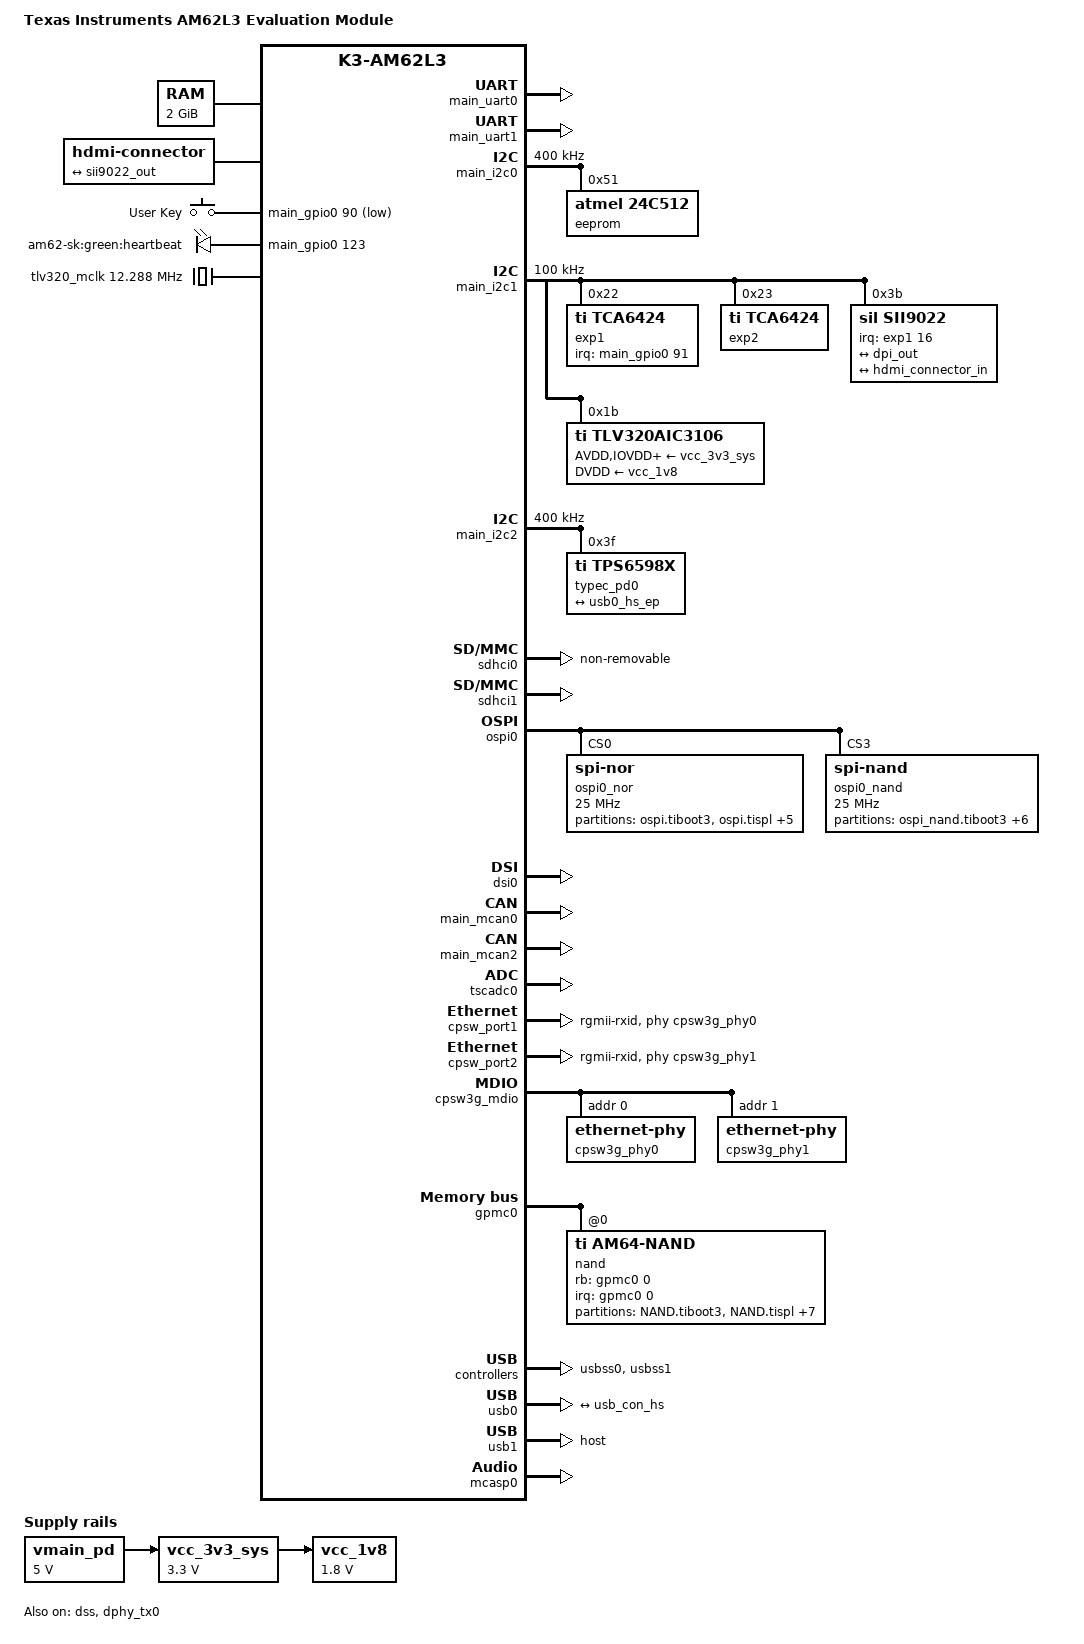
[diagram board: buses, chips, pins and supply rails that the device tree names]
// SPDX-License-Identifier: GPL-2.0-only or MIT
/*
 * Device Tree file for the AM62L3 Evaluation Module
 * Copyright (C) 2024 Texas Instruments Incorporated - https://www.ti.com/
 *
 * Technical Reference Manual: https://www.ti.com/lit/pdf/sprujb4
 */

/dts-v1/;

#include <dt-bindings/gpio/gpio.h>
#include <dt-bindings/input/input.h>
#include <dt-bindings/leds/common.h>
#include <dt-bindings/net/ti-dp83867.h>
#include "k3-am62l3.dtsi"
#include "k3-pinctrl.h"

/ {
	compatible = "ti,am62l3-evm", "ti,am62l3";
	model = "Texas Instruments AM62L3 Evaluation Module";

	aliases {
		mmc0 = &sdhci0;
		mmc1 = &sdhci1;
	};

	chosen {
		stdout-path = &main_uart0;
	};

	memory@80000000 {
		reg = <0x00000000 0x80000000 0x00000000 0x80000000>;
		device_type = "memory";
		bootph-all;
	};

	hdmi0: connector-hdmi {
		compatible = "hdmi-connector";
		label = "hdmi";
		type = "a";

		port {
			hdmi_connector_in: endpoint {
				remote-endpoint = <&sii9022_out>;
			};
		};
	};

	gpio_keys: gpio-keys {
		compatible = "gpio-keys";
		autorepeat;
		pinctrl-names = "default";
		pinctrl-0 = <&usr_button_pins_default>;

		usr: button-usr {
			label = "User Key";
			linux,code = <BTN_0>;
			gpios = <&main_gpio0 90 GPIO_ACTIVE_LOW>;
		};
	};

	leds {
		compatible = "gpio-leds";
		pinctrl-names = "default";
		pinctrl-0 = <&usr_led_pins_default>;

		led-0 {
			label = "am62-sk:green:heartbeat";
			gpios = <&main_gpio0 123 GPIO_ACTIVE_HIGH>;
			linux,default-trigger = "heartbeat";
			function = LED_FUNCTION_HEARTBEAT;
			default-state = "on";
		};
	};

	vmain_pd: regulator-0 {
		/* TPS65988 PD CONTROLLER OUTPUT */
		bootph-all;
		compatible = "regulator-fixed";
		regulator-name = "vmain_pd";
		regulator-min-microvolt = <5000000>;
		regulator-max-microvolt = <5000000>;
		regulator-always-on;
		regulator-boot-on;
	};

	vcc_3v3_sys: regulator-1 {
		/* output of LM61460-Q1 */
		compatible = "regulator-fixed";
		regulator-name = "vcc_3v3_sys";
		regulator-min-microvolt = <3300000>;
		regulator-max-microvolt = <3300000>;
		vin-supply = <&vmain_pd>;
		regulator-always-on;
		regulator-boot-on;
	};

	vcc_1v8: regulator-3 {
		/* output of TPS6282518DMQ */
		compatible = "regulator-fixed";
		regulator-name = "vcc_1v8";
		regulator-min-microvolt = <1800000>;
		regulator-max-microvolt = <1800000>;
		vin-supply = <&vcc_3v3_sys>;
		regulator-always-on;
		regulator-boot-on;
	};

	tlv320_mclk: clk-0 {
		#clock-cells = <0>;
		compatible = "fixed-clock";
		clock-frequency = <12288000>;
	};

	codec_audio: sound {
		compatible = "simple-audio-card";
		simple-audio-card,name = "AM62L-SKEVM";
		simple-audio-card,widgets =
			"Headphone",	"Headphone Jack",
			"Line",		"Line In",
			"Microphone",	"Microphone Jack";
		simple-audio-card,routing =
			"Headphone Jack",	"HPLOUT",
			"Headphone Jack",	"HPROUT",
			"LINE1L",		"Line In",
			"LINE1R",		"Line In",
			"MIC3R",		"Microphone Jack",
			"Microphone Jack",	"Mic Bias";
		simple-audio-card,format = "dsp_b";
		simple-audio-card,bitclock-master = <&sound_master>;
		simple-audio-card,frame-master = <&sound_master>;
		simple-audio-card,bitclock-inversion;

		simple-audio-card,cpu {
			sound-dai = <&mcasp0>;
		};

		sound_master: simple-audio-card,codec {
			sound-dai = <&tlv320aic3106>;
			clocks = <&tlv320_mclk>;
		};
	};
};

&pmx0 {
	main_uart0_pins_default: main-uart0-default-pins {
		pinctrl-single,pins = <
			AM62LX_IOPAD(0x01b4, PIN_INPUT, 0)	/* (D13) UART0_RXD */
			AM62LX_IOPAD(0x01b8, PIN_OUTPUT, 0)	/* (C13) UART0_TXD */
		>;
		bootph-all;
	};

	main_uart1_pins_default: main-uart1-default-pins {
		pinctrl-single,pins = <
			AM62LX_IOPAD(0x0180, PIN_INPUT, 2) /* (A8) MCASP0_AXR3.UART1_CTSn */
			AM62LX_IOPAD(0x0184, PIN_OUTPUT, 2) /* (B10) MCASP0_AXR2.UART1_RTSn */
			AM62LX_IOPAD(0x0198, PIN_INPUT, 2) /* (C11) MCASP0_AFSR.UART1_RXD */
			AM62LX_IOPAD(0x019c, PIN_OUTPUT, 2) /* (A12) MCASP0_ACLKR.UART1_TXD */
		>;
		bootph-all;
	};

	main_i2c0_pins_default: main-i2c0-default-pins {
		pinctrl-single,pins = <
			AM62LX_IOPAD(0x01cc, PIN_INPUT_PULLUP, 0) /* (B7) I2C0_SCL */
			AM62LX_IOPAD(0x01d0, PIN_INPUT_PULLUP, 0) /* (A7) I2C0_SDA */
		>;
		bootph-all;
	};

	main_i2c1_pins_default: main-i2c1-default-pins {
		pinctrl-single,pins = <
			AM62LX_IOPAD(0x01d4, PIN_INPUT_PULLUP, 0) /* (D7) I2C1_SCL */
			AM62LX_IOPAD(0x01d8, PIN_INPUT_PULLUP, 0) /* (A6) I2C1_SDA */
		>;
		bootph-all;
	};

	main_i2c2_pins_default: main-i2c2-default-pins {
		pinctrl-single,pins = <
			AM62LX_IOPAD(0x01dc, PIN_INPUT_PULLUP, 0) /* (B8) I2C2_SCL */
			AM62LX_IOPAD(0x01e0, PIN_INPUT_PULLUP, 0) /* (D8) I2C2_SDA */
		>;
	};

	ospi0_pins_default: ospi0-default-pins {
		bootph-all;
		pinctrl-single,pins = <
			AM62LX_IOPAD(0x003c, PIN_OUTPUT, 0) /* (D22) OSPI0_CLK */
			AM62LX_IOPAD(0x0068, PIN_OUTPUT, 0) /* (C20) OSPI0_CSn0 */
			AM62LX_IOPAD(0x0074, PIN_OUTPUT, 0) /* (C23) OSPI0_CSn3 */
			AM62LX_IOPAD(0x0048, PIN_INPUT, 0) /* (C22) OSPI0_D0 */
			AM62LX_IOPAD(0x004c, PIN_INPUT, 0) /* (D21) OSPI0_D1 */
			AM62LX_IOPAD(0x0050, PIN_INPUT, 0) /* (E23) OSPI0_D2 */
			AM62LX_IOPAD(0x0054, PIN_INPUT, 0) /* (D23) OSPI0_D3 */
			AM62LX_IOPAD(0x0058, PIN_INPUT, 0) /* (F21) OSPI0_D4 */
			AM62LX_IOPAD(0x005c, PIN_INPUT, 0) /* (F19) OSPI0_D5 */
			AM62LX_IOPAD(0x0060, PIN_INPUT, 0) /* (G20) OSPI0_D6 */
			AM62LX_IOPAD(0x0064, PIN_INPUT, 0) /* (F20) OSPI0_D7 */
			AM62LX_IOPAD(0x0044, PIN_INPUT, 0) /* (E22) OSPI0_DQS */
			AM62LX_IOPAD(0x0040, PIN_INPUT, 0) /* (E18) OSPI0_LBCLKO */
		>;
	};

	main_gpio0_ioexp_intr_pins_default: main-gpio0-ioexp-intr-default-pins {
		pinctrl-single,pins = <
			AM62LX_IOPAD(0x01b0, PIN_INPUT, 7) /* (B12) SPI0_D1.GPIO0_91 */
		>;
		bootph-all;
	};

	usr_led_pins_default: usr-led-pins-default {
		pinctrl-single,pins = <
			AM62LX_IOPAD(0x0238, PIN_OUTPUT, 7) /* (D24) MMC1_SDWP.GPIO0_123 */
		>;
	};

	usr_button_pins_default: usr-button-pins-default {
		pinctrl-single,pins = <
			AM62LX_IOPAD(0x01ac, PIN_INPUT, 7) /* (E12) SPI0_D0.GPIO0_90 */
		>;
	};

	main_mmc0_pins_default: main-mmc0-default-pins {
		pinctrl-single,pins = <
			AM62LX_IOPAD(0x0214, PIN_INPUT_PULLUP, 0) /* (D2) MMC0_CMD */
			AM62LX_IOPAD(0x020c, PIN_OUTPUT, 0) /* (B2) MMC0_CLK */
			AM62LX_IOPAD(0x0208, PIN_INPUT_PULLUP, 0) /* (D3) MMC0_DAT0 */
			AM62LX_IOPAD(0x0204, PIN_INPUT_PULLUP, 0) /* (D4) MMC0_DAT1 */
			AM62LX_IOPAD(0x0200, PIN_INPUT_PULLUP, 0) /* (C1) MMC0_DAT2 */
			AM62LX_IOPAD(0x01fc, PIN_INPUT_PULLUP, 0) /* (C2) MMC0_DAT3 */
			AM62LX_IOPAD(0x01f8, PIN_INPUT_PULLUP, 0) /* (C4) MMC0_DAT4 */
			AM62LX_IOPAD(0x01f4, PIN_INPUT_PULLUP, 0) /* (B3) MMC0_DAT5 */
			AM62LX_IOPAD(0x01f0, PIN_INPUT_PULLUP, 0) /* (A3) MMC0_DAT6 */
			AM62LX_IOPAD(0x01ec, PIN_INPUT_PULLUP, 0) /* (B4) MMC0_DAT7 */
		>;
		bootph-all;
	};

	main_mmc1_pins_default: main-mmc1-default-pins {
		pinctrl-single,pins = <
			AM62LX_IOPAD(0x0230, PIN_INPUT, 0) /* (Y3) MMC1_CMD */
			AM62LX_IOPAD(0x0228, PIN_OUTPUT, 0) /* (Y2) MMC1_CLK */
			AM62LX_IOPAD(0x0224, PIN_INPUT, 0) /* (AA1) MMC1_DAT0 */
			AM62LX_IOPAD(0x0220, PIN_INPUT_PULLUP, 0) /* (Y4) MMC1_DAT1 */
			AM62LX_IOPAD(0x021c, PIN_INPUT_PULLUP, 0) /* (AA2) MMC1_DAT2 */
			AM62LX_IOPAD(0x0218, PIN_INPUT_PULLUP, 0) /* (AB2) MMC1_DAT3 */
			AM62LX_IOPAD(0x0234, PIN_INPUT, 0) /* (B6) MMC1_SDCD */
		>;
		bootph-all;
	};

	main_dpi_pins_default: main-dpi-default-pins {
		pinctrl-single,pins = <
			AM62LX_IOPAD(0x00e4, PIN_OUTPUT, 1) /* (L20) GPMC0_CSn0.VOUT0_VSYNC */
			AM62LX_IOPAD(0x00dc, PIN_OUTPUT, 1) /* (N21) GPMC0_WPn.VOUT0_HSYNC */
			AM62LX_IOPAD(0x00e8, PIN_OUTPUT, 1) /* (L19) GPMC0_CSn1.VOUT0_PCLK */
			AM62LX_IOPAD(0x00e0, PIN_OUTPUT, 1) /* (M21) GPMC0_DIR.VOUT0_DE */
			AM62LX_IOPAD(0x0078, PIN_OUTPUT, 1) /* (L22) GPMC0_AD0.VOUT0_DATA0 */
			AM62LX_IOPAD(0x007c, PIN_OUTPUT, 1) /* (L23) GPMC0_AD1.VOUT0_DATA1 */
			AM62LX_IOPAD(0x0080, PIN_OUTPUT, 1) /* (K22) GPMC0_AD2.VOUT0_DATA2 */
			AM62LX_IOPAD(0x0084, PIN_OUTPUT, 1) /* (J23) GPMC0_AD3.VOUT0_DATA3 */
			AM62LX_IOPAD(0x0088, PIN_OUTPUT, 1) /* (K23) GPMC0_AD4.VOUT0_DATA4 */
			AM62LX_IOPAD(0x008c, PIN_OUTPUT, 1) /* (H22) GPMC0_AD5.VOUT0_DATA5 */
			AM62LX_IOPAD(0x0090, PIN_OUTPUT, 1) /* (H23) GPMC0_AD6.VOUT0_DATA6 */
			AM62LX_IOPAD(0x0094, PIN_OUTPUT, 1) /* (J22) GPMC0_AD7.VOUT0_DATA7 */
			AM62LX_IOPAD(0x0098, PIN_OUTPUT, 1) /* (H19) GPMC0_AD8.VOUT0_DATA8 */
			AM62LX_IOPAD(0x009c, PIN_OUTPUT, 1) /* (H20) GPMC0_AD9.VOUT0_DATA9 */
			AM62LX_IOPAD(0x00a0, PIN_OUTPUT, 1) /* (H21) GPMC0_AD10.VOUT0_DATA10 */
			AM62LX_IOPAD(0x00a4, PIN_OUTPUT, 1) /* (H18) GPMC0_AD11.VOUT0_DATA11 */
			AM62LX_IOPAD(0x00a8, PIN_OUTPUT, 1) /* (G23) GPMC0_AD12.VOUT0_DATA12 */
			AM62LX_IOPAD(0x00ac, PIN_OUTPUT, 1) /* (G22) GPMC0_AD13.VOUT0_DATA13 */
			AM62LX_IOPAD(0x00b0, PIN_OUTPUT, 1) /* (F22) GPMC0_AD14.VOUT0_DATA14 */
			AM62LX_IOPAD(0x00b4, PIN_OUTPUT, 1) /* (F23) GPMC0_AD15.VOUT0_DATA15 */
			AM62LX_IOPAD(0x00b8, PIN_OUTPUT, 1) /* (L21) GPMC0_CLK.VOUT0_DATA16 */
			AM62LX_IOPAD(0x00c0, PIN_OUTPUT, 1) /* (N19) GPMC0_ADVn_ALE.VOUT0_DATA17 */
			AM62LX_IOPAD(0x00c4, PIN_OUTPUT, 1) /* (N20) GPMC0_OEn_REn.VOUT0_DATA18 */
			AM62LX_IOPAD(0x00c8, PIN_OUTPUT, 1) /* (M19) GPMC0_WEn.VOUT0_DATA19 */
			AM62LX_IOPAD(0x00cc, PIN_OUTPUT, 1) /* (P23) GPMC0_BE0n_CLE.VOUT0_DATA20 */
			AM62LX_IOPAD(0x00d0, PIN_OUTPUT, 1) /* (P22) GPMC0_BE1n.VOUT0_DATA21 */
			AM62LX_IOPAD(0x00d4, PIN_OUTPUT, 1) /* (N23) GPMC0_WAIT0.VOUT0_DATA22 */
			AM62LX_IOPAD(0x00d8, PIN_OUTPUT, 1) /* (N22) GPMC0_WAIT1.VOUT0_DATA23 */
			AM62LX_IOPAD(0x00ec, PIN_OUTPUT, 5) /* (M23) GPMC0_CSn2.VOUT0_EXTPCLKIN */
		>;
		bootph-all;
	};

	main_mcan0_pins_default: main-mcan0-pins-default {
		pinctrl-single,pins = <
			AM62LX_IOPAD(0x01c8, PIN_INPUT, 0) /* (B15) MCAN0_RX */
			AM62LX_IOPAD(0x01c4, PIN_OUTPUT, 0) /* (B16) MCAN0_TX */
		>;
	};

	main_mcan2_pins_default: main-mcan2-pins-default {
		pinctrl-single,pins = <
			AM62LX_IOPAD(0x01bc, PIN_INPUT, 6) /* (B14) UART0_CTSn.MCAN2_RX */
			AM62LX_IOPAD(0x01c0, PIN_OUTPUT, 6) /* (B13) UART0_RTSn.MCAN2_TX */
		>;
	};

	gpmc0_pins_default: gpmc0-pins-default {
		pinctrl-single,pins = <
			AM62LX_IOPAD(0x0078, PIN_INPUT, 0) /* (L22) GPMC0_AD0 */
			AM62LX_IOPAD(0x007c, PIN_INPUT, 0) /* (L23) GPMC0_AD1 */
			AM62LX_IOPAD(0x0080, PIN_INPUT, 0) /* (K22) GPMC0_AD2 */
			AM62LX_IOPAD(0x0084, PIN_INPUT, 0) /* (J23) GPMC0_AD3 */
			AM62LX_IOPAD(0x0088, PIN_INPUT, 0) /* (K23) GPMC0_AD4 */
			AM62LX_IOPAD(0x008c, PIN_INPUT, 0) /* (H22) GPMC0_AD5 */
			AM62LX_IOPAD(0x0090, PIN_INPUT, 0) /* (H23) GPMC0_AD6 */
			AM62LX_IOPAD(0x0094, PIN_INPUT, 0) /* (J22) GPMC0_AD7 */
			AM62LX_IOPAD(0x00d4, PIN_INPUT, 0) /* (N23) GPMC0_WAIT0 */
			AM62LX_IOPAD(0x00e4, PIN_OUTPUT, 0) /* (L20) GPMC0_CSn0 */
			AM62LX_IOPAD(0x00c0, PIN_OUTPUT, 0) /* (N19) GPMC0_ADVn_ALE */
			AM62LX_IOPAD(0x00c4, PIN_OUTPUT, 0) /* (N20) GPMC0_OEn_REn */
			AM62LX_IOPAD(0x00c8, PIN_OUTPUT, 0) /* (M19) GPMC0_WEn */
			AM62LX_IOPAD(0x00cc, PIN_OUTPUT, 0) /* (P23) GPMC0_BE0n_CLE */
			AM62LX_IOPAD(0x00dc, PIN_OUTPUT, 0) /* (N21) GPMC0_WPn */
		>;
	};

	rgmii1_pins_default: rgmii1-default-pins {
		pinctrl-single,pins = <
			AM62PX_IOPAD(0x0138, PIN_INPUT, 0) /* (Y8) RGMII1_RD0 */
			AM62PX_IOPAD(0x013c, PIN_INPUT, 0) /* (AA6) RGMII1_RD1 */
			AM62PX_IOPAD(0x0140, PIN_INPUT, 0) /* (AA8) RGMII1_RD2 */
			AM62PX_IOPAD(0x0144, PIN_INPUT, 0) /* (W8) RGMII1_RD3 */
			AM62PX_IOPAD(0x0134, PIN_INPUT, 0) /* (Y7) RGMII1_RXC */
			AM62PX_IOPAD(0x0130, PIN_INPUT, 0) /* (Y6) RGMII1_RX_CTL */
			AM62PX_IOPAD(0x0120, PIN_OUTPUT, 0) /* (AC10) RGMII1_TD0 */
			AM62PX_IOPAD(0x0124, PIN_OUTPUT, 0) /* (W13) RGMII1_TD1 */
			AM62PX_IOPAD(0x0128, PIN_OUTPUT, 0) /* (Y11) RGMII1_TD2 */
			AM62PX_IOPAD(0x012c, PIN_OUTPUT, 0) /* (AA11) RGMII1_TD3 */
			AM62PX_IOPAD(0x011c, PIN_OUTPUT, 0) /* (W11) RGMII1_TXC */
			AM62PX_IOPAD(0x0118, PIN_OUTPUT, 0) /* (AB11) RGMII1_TX_CTL */
		>;
	};

	rgmii2_pins_default: rgmii2-default-pins {
		pinctrl-single,pins = <
			AM62PX_IOPAD(0x0170, PIN_INPUT, 0) /* (AB9) RGMII2_RD0 */
			AM62PX_IOPAD(0x0174, PIN_INPUT, 0) /* (AC9) RGMII2_RD1 */
			AM62PX_IOPAD(0x0178, PIN_INPUT, 0) /* (AB10) RGMII2_RD2 */
			AM62PX_IOPAD(0x017c, PIN_INPUT, 0) /* (AB8) RGMII2_RD3 */
			AM62PX_IOPAD(0x016c, PIN_INPUT, 0) /* (AC7) RGMII2_RXC */
			AM62PX_IOPAD(0x0168, PIN_INPUT, 0) /* (AC8) RGMII2_RX_CTL */
			AM62PX_IOPAD(0x0158, PIN_OUTPUT, 0) /* (AC12) RGMII2_TD0 */
			AM62PX_IOPAD(0x015c, PIN_OUTPUT, 0) /* (AB13) RGMII2_TD1 */
			AM62PX_IOPAD(0x0160, PIN_OUTPUT, 0) /* (AA12) RGMII2_TD2 */
			AM62PX_IOPAD(0x0164, PIN_OUTPUT, 0) /* (AA13) RGMII2_TD3 */
			AM62PX_IOPAD(0x0154, PIN_OUTPUT, 0) /* (Y13) RGMII2_TXC */
			AM62PX_IOPAD(0x0150, PIN_OUTPUT, 0) /* (AB12) RGMII2_TX_CTL */
		>;
	};

	mdio1_pins_default: mdio1-default-pins {
		pinctrl-single,pins = <
			AM62PX_IOPAD(0x014c, PIN_OUTPUT, 0) /* (AC15) MDIO0_MDC */
			AM62PX_IOPAD(0x0148, PIN_INPUT, 0) /* (AC13) MDIO0_MDIO */
		>;
	};

	main_usb1_default_pins: main-usb1-default-pins {
		pinctrl-single,pins = <
			AM62LX_IOPAD(0x0248, PIN_INPUT | PIN_DS_PULLUD_ENABLE | PIN_DS_PULL_UP, 0) /* (A5) USB1_DRVVBUS */
		>;
	};

	main_mcasp0_pins_default: main-mcasp0-default-pins {
		pinctrl-single,pins = <
			AM62PX_IOPAD(0x0190, PIN_INPUT, 0) /* (A11) MCASP0_ACLKX */
			AM62PX_IOPAD(0x0194, PIN_INPUT, 0) /* (B11) MCASP0_AFSX */
			AM62PX_IOPAD(0x018c, PIN_INPUT, 0) /* (B9) MCASP0_AXR0 */
			AM62PX_IOPAD(0x0188, PIN_INPUT, 0) /* (A9) MCASP0_AXR1 */
		>;
	};
};

&main_uart0 {
	pinctrl-names = "default";
	pinctrl-0 = <&main_uart0_pins_default>;
	status = "okay";
	bootph-all;
};

&main_uart1 {
	pinctrl-names = "default";
	pinctrl-0 = <&main_uart1_pins_default>;
	status = "okay";
	bootph-all;
};

&main_i2c0 {
	status = "okay";
	pinctrl-names = "default";
	pinctrl-0 = <&main_i2c0_pins_default>;
	clock-frequency = <400000>;
	bootph-all;

	eeprom@51 {
		/* AT24C512C-MAHM-T or M24512-DFMC6TG */
		compatible = "atmel,24c512";
		reg = <0x51>;
	};
};

&main_i2c1 {
	status = "okay";
	pinctrl-names = "default";
	pinctrl-0 = <&main_i2c1_pins_default>;
	clock-frequency = <100000>;
	bootph-all;

	exp1: gpio@22 {
		compatible = "ti,tca6424";
		reg = <0x22>;
		gpio-controller;
		#gpio-cells = <2>;
		gpio-line-names = "", "",
				   "UART1_FET_SEL", "MMC1_SD_EN",
				   "VPP_EN", "EXP_PS_3V3_EN",
				   "UART1_FET_BUF_EN", "",
				   "DSI_GPIO0", "DSI_GPIO1",
				   "", "BT_UART_WAKE_SOC_3V3",
				   "USB_TYPEA_OC_INDICATION", "",
				   "", "WLAN_ALERTn",
				   "HDMI_INTn", "TEST_GPIO2",
				   "MCASP0_FET_EN", "MCASP0_BUF_BT_EN",
				   "MCASP0_FET_SEL", "DSI_EDID",
				   "PD_I2C_IRQ", "IO_EXP_TEST_LED";

		interrupt-parent = <&main_gpio0>;
		interrupts = <91 IRQ_TYPE_EDGE_FALLING>;
		interrupt-controller;
		#interrupt-cells = <2>;

		pinctrl-names = "default";
		pinctrl-0 = <&main_gpio0_ioexp_intr_pins_default>;
		bootph-all;
	};

	exp2: gpio@23 {
		compatible = "ti,tca6424";
		reg = <0x23>;
		gpio-controller;
		#gpio-cells = <2>;
		gpio-line-names = "BT_EN_SOC", "VOUT0_FET_SEL0",
				   "", "",
				   "", "",
				   "", "",
				   "WL_LT_EN", "EXP_PS_5V0_EN",
				   "TP45", "TP48",
				   "TP46", "TP49",
				   "TP47", "TP50",
				   "GPIO_QSPI_NAND_RSTn", "GPIO_HDMI_RSTn",
				   "GPIO_CPSW1_RST", "GPIO_CPSW2_RST",
				   "", "GPIO_AUD_RSTn",
				   "GPIO_eMMC_RSTn", "SoC_WLAN_SDIO_RST";
		bootph-all;
	};

	sii9022: bridge-hdmi@3b {
		compatible = "sil,sii9022";
		reg = <0x3b>;
		interrupt-parent = <&exp1>;
		interrupts = <16 IRQ_TYPE_EDGE_FALLING>;
		#sound-dai-cells = <0>;
		sil,i2s-data-lanes = < 0 >;
		bootph-all;

		ports {
			#address-cells = <1>;
			#size-cells = <0>;

			port@0 {
				reg = <0>;

				sii9022_in: endpoint {
					remote-endpoint = <&dpi_out>;
				};
			};

			port@1 {
				reg = <1>;

				sii9022_out: endpoint {
					remote-endpoint = <&hdmi_connector_in>;
				};
			};
		};
	};

	tlv320aic3106: audio-codec@1b {
		#sound-dai-cells = <0>;
		compatible = "ti,tlv320aic3106";
		reg = <0x1b>;
		ai3x-micbias-vg = <1>;	/* 2.0V */

		/* Regulators */
		AVDD-supply = <&vcc_3v3_sys>;
		IOVDD-supply = <&vcc_3v3_sys>;
		DRVDD-supply = <&vcc_3v3_sys>;
		DVDD-supply = <&vcc_1v8>;
	};
};

&main_i2c2 {
	status = "okay";
	pinctrl-names = "default";
	pinctrl-0 = <&main_i2c2_pins_default>;
	clock-frequency = <400000>;

	typec_pd0: tps6598x@3f {
		compatible = "ti,tps6598x";
		reg = <0x3f>;

		connector {
			compatible = "usb-c-connector";
			label = "USB-C";
			self-powered;
			data-role = "dual";
			power-role = "sink";
			port {
				usb_con_hs: endpoint {
					remote-endpoint = <&usb0_hs_ep>;
				};
			};
		};
	};
};

&main_gpio0 {
	status = "okay";
	bootph-all;
};

&main_gpio2 {
	status = "okay";
	bootph-all;
};

&sdhci0 {
	/* eMMC */
	non-removable;
	pinctrl-names = "default";
	pinctrl-0 = <&main_mmc0_pins_default>;
	status = "okay";
	bootph-all;
};

&sdhci1 {
	/* SD/MMC */
	pinctrl-names = "default";
	pinctrl-0 = <&main_mmc1_pins_default>;
	status = "okay";
	bootph-all;
};

&ospi0 {
	bootph-all;
	status = "okay";
	pinctrl-names = "default";
	pinctrl-0 = <&ospi0_pins_default>;

	ospi0_nor: flash@0 {
		bootph-all;
		compatible = "jedec,spi-nor";
		reg = <0x0>;
		spi-tx-bus-width = <8>;
		spi-rx-bus-width = <8>;
		spi-max-frequency = <25000000>;
		cdns,tshsl-ns = <60>;
		cdns,tsd2d-ns = <60>;
		cdns,tchsh-ns = <60>;
		cdns,tslch-ns = <60>;
		cdns,read-delay = <4>;
		cdns,phy-mode;

		partitions {
			bootph-all;
			compatible = "fixed-partitions";
			#address-cells = <1>;
			#size-cells = <1>;

			partition@0 {
				label = "ospi.tiboot3";
				reg = <0x0 0x80000>;
			};

			partition@80000 {
				label = "ospi.tispl";
				reg = <0x80000 0x200000>;
			};

			partition@280000 {
				label = "ospi.u-boot";
				reg = <0x280000 0x400000>;
			};

			partition@680000 {
				label = "ospi.env";
				reg = <0x680000 0x40000>;
			};

			partition@6c0000 {
				label = "ospi.env.backup";
				reg = <0x6c0000 0x40000>;
			};

			partition@800000 {
				label = "ospi.rootfs";
				reg = <0x800000 0x37c0000>;
			};

			partition@3fc0000 {
				bootph-all;
				label = "ospi.phypattern";
				reg = <0x3fc0000 0x40000>;
			};
		};
	};

	ospi0_nand: flash@3 {
		bootph-all;
		compatible = "spi-nand";
		reg = <0x3>;
		spi-tx-bus-width = <4>;
		spi-rx-bus-width = <4>;
		spi-max-frequency = <25000000>;
		cdns,tshsl-ns = <60>;
		cdns,tsd2d-ns = <60>;
		cdns,tchsh-ns = <60>;
		cdns,tslch-ns = <60>;
		cdns,read-delay = <2>;
		cdns,phy-mode;

		partitions {
			bootph-all;
			compatible = "fixed-partitions";
			#address-cells = <1>;
			#size-cells = <1>;

			partition@0 {
				label = "ospi_nand.tiboot3";
				reg = <0x0 0x80000>;
			};

			partition@80000 {
				label = "ospi_nand.tispl";
				reg = <0x80000 0x200000>;
			};

			partition@280000 {
				label = "ospi_nand.u-boot";
				reg = <0x280000 0x400000>;
			};

			partition@680000 {
				label = "ospi_nand.env";
				reg = <0x680000 0x40000>;
			};

			partition@6c0000 {
				label = "ospi_nand.env.backup";
				reg = <0x6c0000 0x40000>;
			};

			partition@2000000 {
				label = "ospi_nand.rootfs";
				reg = <0x2000000 0x5fe0000>;
			};

			partition@7fe0000 {
				bootph-all;
				label = "ospi_nand.phypattern";
				reg = <0x7fe0000 0x20000>;
			};
		};
	};
};

&dss {
	status = "okay";
	pinctrl-names = "default";
	pinctrl-0 = <&main_dpi_pins_default>;
	bootph-all;
};

&dss_ports {
	/* VP1: DPI Output */
	port@0 {
		reg = <0>;

		dpi_out: endpoint {
			remote-endpoint = <&sii9022_in>;
		};
	};
};

&dphy_tx0 {
	status = "okay";
	bootph-all;
};

&dsi0 {
	status = "okay";
	bootph-all;
};

&main_mcan0 {
	pinctrl-names = "default";
	pinctrl-0 = <&main_mcan0_pins_default>;
	status = "okay";
};

&main_mcan2 {
	pinctrl-names = "default";
	pinctrl-0 = <&main_mcan2_pins_default>;
	status = "okay";
};

&tscadc0 {
	status = "okay";

	adc {
		ti,adc-channels = <0 1 2 3>;
	};
};

&cpsw3g {
	pinctrl-names = "default";
	pinctrl-0 = <&rgmii1_pins_default>,
		    <&rgmii2_pins_default>;
};

&cpsw_port1 {
	phy-mode = "rgmii-rxid";
	phy-handle = <&cpsw3g_phy0>;
};

&cpsw_port2 {
	phy-mode = "rgmii-rxid";
	phy-handle = <&cpsw3g_phy1>;
};

&cpsw3g_mdio {
	pinctrl-names = "default";
	pinctrl-0 = <&mdio1_pins_default>;
	status = "okay";

	cpsw3g_phy0: ethernet-phy@0 {
		reg = <0>;
		ti,rx-internal-delay = <DP83867_RGMIIDCTL_2_00_NS>;
		ti,fifo-depth = <DP83867_PHYCR_FIFO_DEPTH_4_B_NIB>;
		ti,min-output-impedance;
	};

	cpsw3g_phy1: ethernet-phy@1 {
		reg = <1>;
		ti,rx-internal-delay = <DP83867_RGMIIDCTL_2_00_NS>;
		ti,fifo-depth = <DP83867_PHYCR_FIFO_DEPTH_4_B_NIB>;
		ti,min-output-impedance;
	};
};

&elm0 {
	/*
	 * status = "okay";
	 * disable dss when enabling this
	 */
};

&gpmc0 {
	/*
	 * status = "okay";
	 * disable dss when enabling this
	 */
	pinctrl-names = "default";
	pinctrl-0 = <&gpmc0_pins_default>;
	#address-cells = <2>;
	#size-cells = <1>;
	ranges = <0 0 0x00 0x51000000 0x01000000>; /* CS0 space. Min partition = 16MB */

	nand@0,0 {
		compatible = "ti,am64-nand";
		reg = <0 0 64>;		/* device IO registers */
		interrupt-parent = <&gpmc0>;
		interrupts = <0 IRQ_TYPE_NONE>, /* fifoevent */
			     <1 IRQ_TYPE_NONE>;	/* termcount */
		rb-gpios = <&gpmc0 0 GPIO_ACTIVE_HIGH>;	/* gpmc_wait0 */
		ti,nand-xfer-type = "prefetch-polled";
		ti,nand-ecc-opt = "bch8";	/* BCH8: Bootrom limitation */
		ti,elm-id = <&elm0>;
		nand-bus-width = <8>;
		gpmc,device-width = <1>;
		gpmc,sync-clk-ps = <0>;
		gpmc,cs-on-ns = <0>;
		gpmc,cs-rd-off-ns = <40>;
		gpmc,cs-wr-off-ns = <40>;
		gpmc,adv-on-ns = <0>;
		gpmc,adv-rd-off-ns = <25>;
		gpmc,adv-wr-off-ns = <25>;
		gpmc,we-on-ns = <0>;
		gpmc,we-off-ns = <20>;
		gpmc,oe-on-ns = <3>;
		gpmc,oe-off-ns = <30>;
		gpmc,access-ns = <30>;
		gpmc,rd-cycle-ns = <40>;
		gpmc,wr-cycle-ns = <40>;
		gpmc,bus-turnaround-ns = <0>;
		gpmc,cycle2cycle-delay-ns = <0>;
		gpmc,clk-activation-ns = <0>;
		gpmc,wr-access-ns = <40>;
		gpmc,wr-data-mux-bus-ns = <0>;

		partitions {
			compatible = "fixed-partitions";
			#address-cells = <1>;
			#size-cells = <1>;

			partition@0 {
				label = "NAND.tiboot3";
				reg = <0x00000000 0x00080000>;	/* 512KB */
			};
			partition@80000 {
				label = "NAND.tispl";
				reg = <0x80000 0x180000>; /* 1.5M */
			};
			partition@200000 {
				label = "NAND.u-boot";
				reg = <0x00200000 0x00200000>;	/* 2M */
			};
			partition@400000 {
				label = "NAND.tiboot3.backup";	/* 512KB */
				reg = <0x00400000 0x00080000>;	/* BootROM looks at 4M */
			};
			partition@480000 {
				label = "NAND.tispl.bin.backup";
				reg = <0x00480000 0x180000>; /* 1.5M */
			};
			partition@600000 {
				label = "NAND.u-boot.backup";
				reg = <0x00600000 0x00200000>;	/* 2M */
			};
			partition@800000 {
				label = "NAND.u-boot-env";
				reg = <0x00800000 0x00040000>;	/* 256K */
			};
			partition@840000 {
				label = "NAND.u-boot-env.backup";
				reg = <0x00840000 0x00040000>;	/* 256K */
			};
			partition@880000 {
				label = "NAND.file-system";
				reg = <0x00880000 0x1f780000>;
			};
		};
	};
};

&usbss0 {
	status = "okay";
	ti,vbus-divider;
};

&usb0 {
	usb-role-switch;

	port {
		usb0_hs_ep: endpoint {
			remote-endpoint = <&usb_con_hs>;
		};
	};
};

&usbss1 {
	status = "okay";
	ti,vbus-divider;
};

&usb1 {
	dr_mode = "host";
	pinctrl-names = "default";
	pinctrl-0 = <&main_usb1_default_pins>;
};

&mcasp0 {
	status = "okay";
	#sound-dai-cells = <0>;

	pinctrl-names = "default";
	pinctrl-0 = <&main_mcasp0_pins_default>;

	op-mode = <0>;          /* MCASP_IIS_MODE */
	tdm-slots = <2>;

	serial-dir = <  /* 0: INACTIVE, 1: TX, 2: RX */
	       1 2 0 0
	       0 0 0 0
	       0 0 0 0
	       0 0 0 0
	>;
};
